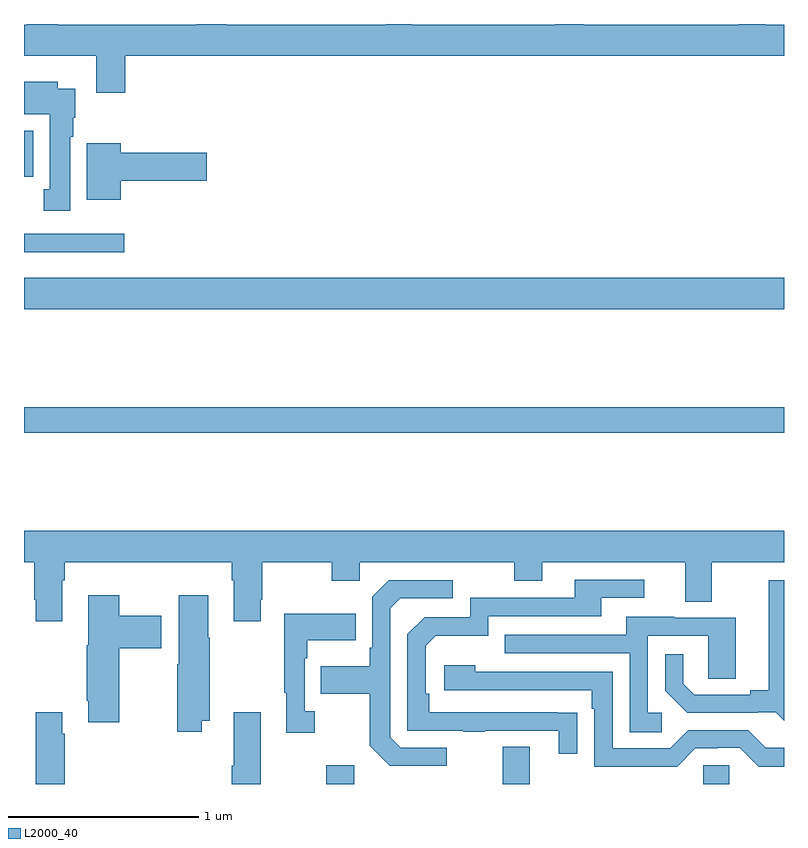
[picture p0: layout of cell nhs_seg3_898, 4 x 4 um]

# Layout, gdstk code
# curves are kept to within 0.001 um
import gdstk
lib = gdstk.Library(unit=1e-6, precision=1e-09)
def R(c, l, rs):  # rectangles x0, y0, x1, y1
    for r in rs: c.add(gdstk.rectangle(r[:2], r[2:], *l))
def P(c, l, *ps):  # polygons
    for p in ps: c.add(gdstk.Polygon(p, *l))
L2000_40 = (2000, 40)

nhs_seg3_898 = lib.new_cell('nhs_seg3_898')
R(nhs_seg3_898, L2000_40, [(158.59,714.4,158.737,714.499), (159.521,714.4,159.661,714.595), (160.575,714.4,160.713,714.498), (157,716.248,161,716.384), (157,716.9,161,717.064), (157,717.2,157.528,717.297), (157,717.596,157.048,717.838)])
P(nhs_seg3_898, L2000_40, [(157.532,718.232),(161,718.232),(161,718.396),(160.905,718.396),(160.905,718.4),(160.758,718.4),(160.758,718.396),(159.945,718.396),(159.945,718.4),(159.797,718.4),(159.797,718.396),(159.043,718.396),(159.043,718.4),(158.903,718.4),(158.903,718.396),(158.067,718.396),(158.067,718.4),(157.907,718.4),(157.907,718.396),(157.178,718.396),(157.178,718.4),(157.018,718.4),(157.018,718.396),(157,718.396),(157,718.232),(157.379,718.232),(157.379,718.038),(157.532,718.038)],
  [(157.243,717.806),(157.258,717.806),(157.258,717.906),(157.27,717.906),(157.27,718.06),(157.177,718.06),(157.177,718.096),(157,718.096),(157,717.926),(157.136,717.926),(157.136,717.53),(157.103,717.53),(157.103,717.417),(157.243,717.417)],
  [(157.51,717.575),(157.963,717.575),(157.963,717.722),(157.51,717.722),(157.51,717.772),(157.331,717.772),(157.331,717.476),(157.51,717.476)],
  [(157.201,715.472),(157.214,715.472),(157.214,715.568),(158.093,715.568),(158.093,715.472),(158.105,715.472),(158.105,715.257),(158.245,715.257),(158.245,715.369),(158.253,715.369),(158.253,715.568),(158.62,715.568),(158.62,715.469),(158.766,715.469),(158.766,715.568),(159.58,715.568),(159.58,715.469),(159.727,715.469),(159.727,715.568),(160.481,715.568),(160.481,715.36),(160.621,715.36),(160.621,715.568),(161,715.568),(161,715.732),(157,715.732),(157,715.568),(157.054,715.568),(157.054,715.369),(157.061,715.369),(157.061,715.257),(157.201,715.257)],
  [(159.911,714.776),(159.134,714.777),(159.134,714.874),(159.114,714.874),(159.114,715.128),(159.167,715.181),(159.444,715.181),(159.444,715.284),(160.039,715.284),(160.039,715.38),(160.264,715.38),(160.264,715.476),(159.899,715.476),(159.899,715.38),(159.348,715.38),(159.348,715.278),(159.108,715.278),(159.018,715.188),(159.018,714.681),(159.313,714.681),(159.313,714.676),(159.425,714.676),(159.425,714.681),(159.815,714.681),(159.815,714.558),(159.911,714.558)],
  [(159.226,714.591),(158.982,714.591),(158.928,714.645),(158.928,715.326),(158.979,715.377),(159.256,715.377),(159.256,715.473),(158.919,715.473),(158.832,715.386),(158.832,715.117),(158.82,715.117),(158.82,715.021),(158.563,715.021),(158.563,714.874),(158.82,714.874),(158.82,714.601),(158.925,714.495),(159.226,714.495)],
  [(161,715.473),(160.919,715.473),(160.919,714.893),(160.823,714.893),(160.823,714.87),(160.528,714.87),(160.471,714.927),(160.471,715.084),(160.374,715.084),(160.374,714.89),(160.49,714.774),(160.862,714.774),(160.862,714.777),(160.956,714.777),(161,714.733)],
  [(157.5,715.115),(157.723,715.115),(157.723,715.285),(157.5,715.285),(157.5,715.393),(157.337,715.393),(157.337,715.131),(157.33,715.131),(157.33,714.838),(157.337,714.838),(157.337,714.726),(157.5,714.726)],
  [(157.936,714.734),(157.977,714.734),(157.977,715.169),(157.969,715.169),(157.969,715.393),(157.814,715.393),(157.814,715.031),(157.807,715.031),(157.807,714.675),(157.936,714.675)],
  [(158.53,714.782),(158.478,714.782),(158.478,715.061),(158.491,715.061),(158.491,715.157),(158.747,715.157),(158.747,715.297),(158.37,715.297),(158.37,714.881),(158.381,714.881),(158.381,714.669),(158.53,714.669)],
  [(160.357,714.774),(160.284,714.774),(160.284,715.179),(160.602,715.179),(160.602,714.955),(160.747,714.955),(160.747,715.275),(160.423,715.275),(160.423,715.279),(160.169,715.279),(160.169,715.185),(159.529,715.185),(159.529,715.089),(160.188,715.089),(160.188,714.673),(160.357,714.673)],
  [(161,714.591),(160.905,714.591),(160.812,714.684),(160.497,714.684),(160.401,714.588),(160.098,714.588),(160.098,714.99),(159.374,714.99),(159.374,715.024),(159.213,715.024),(159.213,714.894),(159.989,714.894),(159.989,714.797),(160.002,714.797),(160.002,714.492),(160.437,714.492),(160.533,714.588),(160.652,714.588),(160.652,714.591),(160.767,714.591),(160.867,714.491),(161,714.491)],
  [(158.245,714.778),(158.105,714.778),(158.105,714.496),(158.093,714.496),(158.093,714.4),(158.245,714.4)],
  [(157.201,714.665),(157.201,714.778),(157.061,714.778),(157.061,714.4),(157.214,714.4),(157.214,714.665)])

lib.write_gds('nhs_seg3_898.gds')
